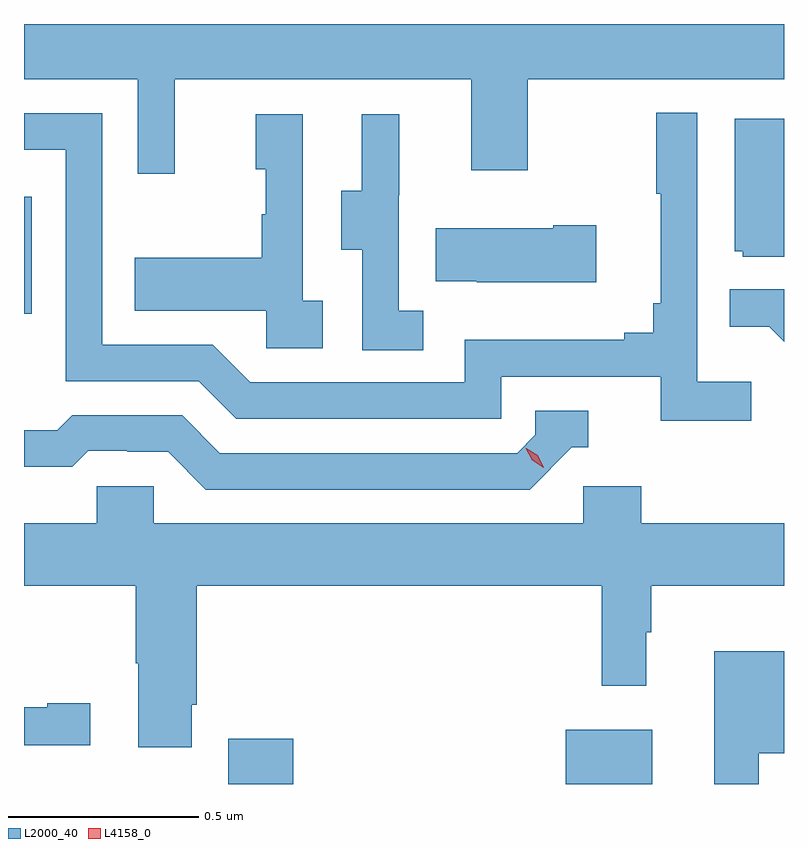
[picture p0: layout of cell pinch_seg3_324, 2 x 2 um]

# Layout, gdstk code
import gdstk
lib = gdstk.Library(unit=1e-6, precision=1e-09)
def R(c, l, rs):  # rectangles x0, y0, x1, y1
    for r in rs: c.add(gdstk.rectangle(r[:2], r[2:], *l))
def P(c, l, *ps):  # polygons
    for p in ps: c.add(gdstk.Polygon(p, *l))
L2000_40 = (2000, 40)
L4158_0 = (4158, 0)

pinch_seg3_324 = lib.new_cell('pinch_seg3_324')
R(pinch_seg3_324, L2000_40, [(989.408,708.386,989.579,708.505), (990.296,708.386,990.523,708.529), (988.87,709.623,988.89,709.932)])
P(pinch_seg3_324, L2000_40, [(989.267,710.24),(990.047,710.24),(990.047,710.001),(990.195,710.001),(990.195,710.24),(990.87,710.24),(990.87,710.386),(988.87,710.386),(988.87,710.24),(989.169,710.24),(989.169,709.992),(989.267,709.992)],
  [(990.784,709.444),(990.642,709.444),(990.642,710.152),(990.534,710.152),(990.534,709.939),(990.545,709.939),(990.545,709.651),(990.526,709.651),(990.526,709.574),(990.449,709.574),(990.449,709.555),(990.03,709.555),(990.03,709.443),(989.466,709.443),(989.367,709.542),(989.076,709.542),(989.076,710.151),(988.87,710.151),(988.87,710.055),(988.98,710.055),(988.98,709.446),(989.33,709.446),(989.429,709.347),(990.126,709.347),(990.126,709.458),(990.545,709.458),(990.545,709.342),(990.784,709.342)],
  [(989.92,709.631),(989.856,709.631),(989.856,709.935),(989.858,709.935),(989.858,710.149),(989.759,710.149),(989.759,709.947),(989.705,709.947),(989.705,709.792),(989.76,709.792),(989.76,709.528),(989.92,709.528)],
  [(989.656,709.658),(989.604,709.658),(989.604,710.149),(989.48,710.149),(989.48,710.004),(989.506,710.004),(989.506,709.886),(989.496,709.886),(989.496,709.771),(989.161,709.771),(989.161,709.631),(989.508,709.631),(989.508,709.533),(989.656,709.533)],
  [(990.87,710.137),(990.74,710.137),(990.74,709.788),(990.762,709.788),(990.762,709.773),(990.87,709.773)],
  [(990.376,709.857),(990.263,709.857),(990.263,709.849),(989.953,709.849),(989.953,709.709),(990.061,709.709),(990.061,709.706),(990.376,709.706)],
  [(990.87,709.688),(990.727,709.688),(990.727,709.589),(990.831,709.589),(990.87,709.55)],
  [(990.312,709.272),(990.355,709.272),(990.355,709.368),(990.216,709.368),(990.216,709.305),(990.168,709.257),(989.385,709.257),(989.286,709.356),(988.997,709.356),(988.958,709.317),(988.87,709.317),(988.87,709.221),(988.997,709.221),(989.039,709.263),(989.142,709.263),(989.142,709.26),(989.249,709.26),(989.348,709.161),(990.201,709.161)],
  [(989.211,709.17),(989.061,709.17),(989.061,709.072),(988.87,709.072),(988.87,708.908),(989.164,708.908),(989.164,708.704),(989.171,708.704),(989.171,708.483),(989.311,708.483),(989.311,708.595),(989.324,708.595),(989.324,708.908),(990.391,708.908),(990.391,708.645),(990.508,708.645),(990.508,708.785),(990.52,708.785),(990.52,708.908),(990.87,708.908),(990.87,709.072),(990.494,709.072),(990.494,709.17),(990.342,709.17),(990.342,709.072),(989.211,709.072)],
  [(990.803,708.467),(990.87,708.467),(990.87,708.736),(990.686,708.736),(990.686,708.386),(990.803,708.386)],
  [(989.044,708.598),(988.931,708.598),(988.931,708.588),(988.87,708.588),(988.87,708.488),(989.044,708.488)])
P(pinch_seg3_324, L4158_0, [(990.238,709.218),(990.207,709.238),(990.191,709.27),(990.191,709.27),(990.192,709.27),(990.222,709.251),(990.238,709.219),(990.238,709.218)])

lib.write_gds('pinch_seg3_324.gds')
